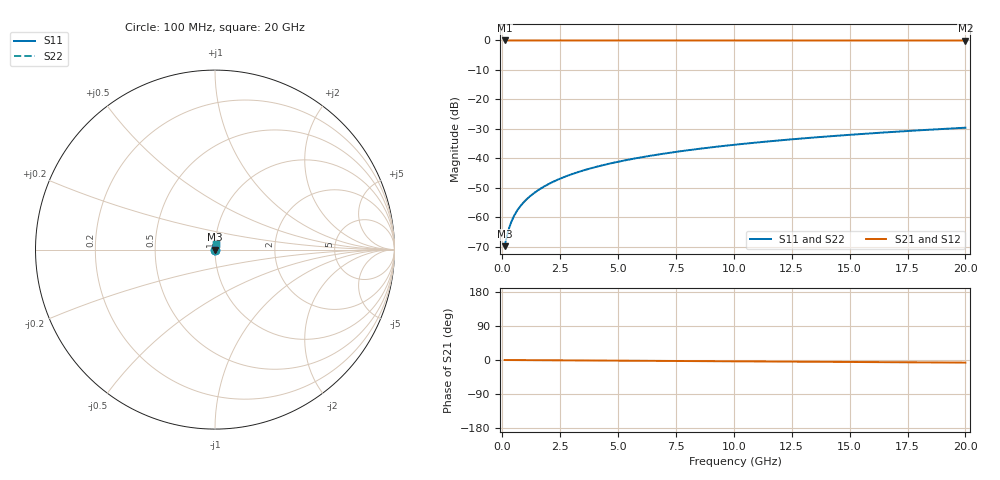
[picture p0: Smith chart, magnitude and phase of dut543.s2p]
! Touchstone file exported from HFSS 2026.1.0
!  File:  C:/ffzhzh/LocalFiles/Ansys_Project_Files/temp_train_TSV_543_1783024086_51716.aedt
!  Generated:  04:30:12 AM Jul  3, 2026
!  Design:  TSV
!  Project:  temp_train_TSV_543_1783024086_51716
! Variables:
!  h_bsmrdl = 2um
!  h_ox = 20um
!  h_rdl = 5um
!  h_sub = 65.53um
!  h_tmrdl = 5um
!  h_tsv = 65.53um
!  h_via = 3um
!  l_bsmrdl = 300um
!  l_sub = 411.86um
!  l_tmrdl = 200um
!  m_sub = 200um
!  pitch = 34.54um
!  r_tsv = 5.93um
!  s_tmrdl = 10um
!  w_bsmrdl = 18um
!  w_sub = 500um
!  w_tmrdl = 12um
!  x_tsv_center1 = 206um
!  x_tsv_center2 = 524um
!  x_tsv_center3 = 736um
!  x_tsv_center4 = 1054um
!  x_tsv_center5 = 1266um
!  x_tsv_center6 = 1584um
# GHz S MA R 50.000000
! Terminal data exported
! Port[1] = TSV1_1_T1
! Port[2] = TSV1_1_T2
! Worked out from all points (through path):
!   200 points, 100 MHz to 20 GHz, reference 50 ohm
!   highest |S21| = 0.00 dB at 100 MHz (marker M1); lowest = 0.0 dB at 20 GHz (marker M2)
!   lowest |S11| = -69.8 dB at 100 MHz (marker M3), VSWR 1.00, Z = 50 + j0.0206 ohm
!   |S11| at or under -10 dB: start of sweep to end of sweep
!   |S22| runs from -69.8 to -29.6 dB; largest |S21 - S12| = 7.1e-15
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0.1  0.0003236 39.5  0.9998 -0.0  0.9998 -0.0  0.0003236 39.5
! Gamma 0 0 0 0
! Port Impedance 50 0 50 0
0.2  0.0004848 57.5  0.9997 -0.1  0.9997 -0.1  0.0004848 57.5
0.3  0.0006675 65.5  0.9997 -0.1  0.9997 -0.1  0.0006675 65.5
0.4  0.0008539 69.7  0.9997 -0.1  0.9997 -0.1  0.0008539 69.7
0.5  0.001039 72.3  0.9997 -0.2  0.9997 -0.2  0.001039 72.3
0.6  0.001221 74.0  0.9997 -0.2  0.9997 -0.2  0.001221 74.0
0.7  0.001401 75.2  0.9996 -0.3  0.9996 -0.3  0.001401 75.2
0.8  0.001579 76.2  0.9996 -0.3  0.9996 -0.3  0.001579 76.2
1  0.00193 77.7  0.9996 -0.4  0.9996 -0.4  0.00193 77.7
1.4  0.002626 79.7  0.9995 -0.5  0.9995 -0.5  0.002626 79.7
1.7  0.003146 80.6  0.9995 -0.6  0.9995 -0.6  0.003146 80.6
2  0.003664 81.3  0.9995 -0.7  0.9995 -0.7  0.003664 81.3
2.7  0.004869 82.2  0.9994 -1.0  0.9994 -1.0  0.004869 82.2
3.5  0.006233 82.7  0.9993 -1.2  0.9993 -1.2  0.006233 82.7
4.2  0.007414 82.9  0.9992 -1.5  0.9992 -1.5  0.007414 82.9
5  0.008751 83.0  0.9992 -1.8  0.9992 -1.8  0.008751 83.0
6.8  0.01173 83.0  0.999 -2.4  0.999 -2.4  0.01173 83.0
8.3  0.01418 82.9  0.9989 -2.9  0.9989 -2.9  0.01418 82.9
10.1  0.01712 82.7  0.9987 -3.5  0.9987 -3.5  0.01712 82.7
13.4  0.02248 82.0  0.9984 -4.6  0.9984 -4.6  0.02248 82.0
16.7  0.02781 81.2  0.9982 -5.8  0.9982 -5.8  0.02781 81.2
20  0.03309 80.3  0.9978 -6.9  0.9978 -6.9  0.03309 80.3
